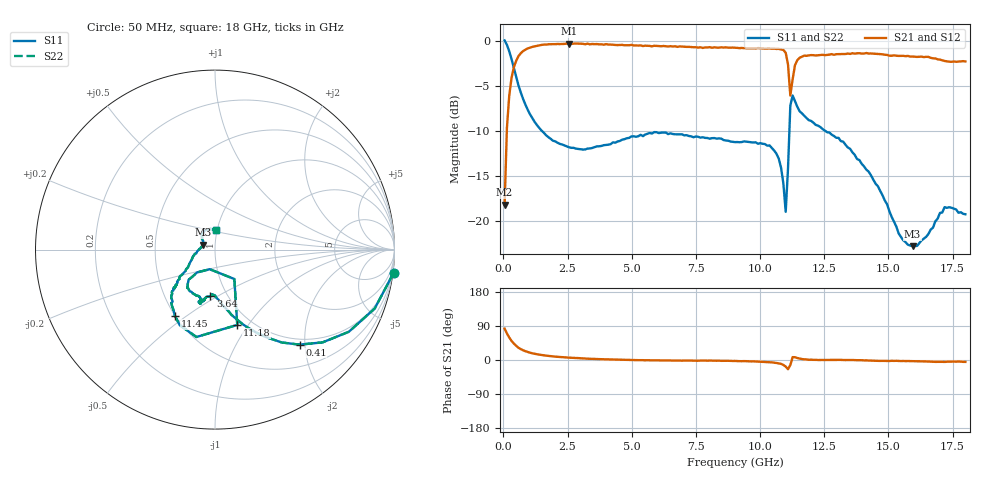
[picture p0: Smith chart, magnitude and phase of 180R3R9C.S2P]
!  American Technical Ceramics  Date:  3/13/98
!  One Norden Lane
!  Huntington Station,  NY.  11746-2102
!  Tel:  (516) 547-5700  Fax:  (516) 547-5748
!  Part Number  180r3r9c
!  Description: Porcelain, High Q, Low ESR
!  Application: Bypass, Coupling, Timing, Feedback
!  Tuning, Impedance Match, Blocking
# GHZ S DB R 50
! Freq  |S11|  S11 Ph  |S21|  S21 Ph  |S12|  S12 Ph  |S22|  S22 Ph
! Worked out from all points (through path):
!   201 points, 50 MHz to 18 GHz, reference 50 ohm
!   highest |S21| = -0.31 dB at 2.56 GHz (marker M1); lowest = -18.1 dB at 50 MHz (marker M2)
!   group delay of S21, straight-line fit = 3.64 ps
!   lowest |S11| = -22.7 dB at 15.94 GHz (marker M3), VSWR 1.16, Z = 43.6 + j2.46 ohm
!   |S11| at or under -10 dB: 1.512 GHz to 11.14 GHz (9.632 GHz wide, 152 % of centre); 12.55 GHz to end of sweep
!   |S22| runs from -22.7 to 0.0 dB; largest |S21 - S12| = 0
!   S11 on the Smith chart (normalised r, x): 50 MHz: -0, -15; 410 MHz: 0.89, -1.89; 3.64 GHz: 0.83, -0.46; 11.18 GHz: 0.86, -0.89; 11.45 GHz: 0.50, -0.45; 18 GHz: 0.99, +0.22
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0.05  0.03 -7.5  -18.14 82.8  -18.14 82.8  0.03 -7.5
0.14  -0.46 -20.3  -9.64 70.2  -9.64 70.2  -0.46 -20.3
0.41  -2.99 -48.4  -2.93 43.3  -2.93 43.3  -2.99 -48.4
0.68  -5.73 -63.5  -1.38 28.8  -1.38 28.8  -5.73 -63.5
1.04  -8.14 -74.1  -0.77 19.3  -0.77 19.3  -8.14 -74.1
2.56  -11.79 -89.6  -0.31 6.2  -0.31 6.2  -11.79 -89.6
3.1  -12.04 -93.6  -0.34 4.3  -0.34 4.3  -12.04 -93.6
3.64  -11.69 -95.8  -0.37 2.5  -0.37 2.5  -11.69 -95.8
6.06  -10.22 -105.1  -0.59 -1.1  -0.59 -1.1  -10.22 -105.1
9.03  -11.22 -109.0  -0.77 -2.5  -0.77 -2.5  -11.22 -109.0
10.64  -12.50 -129.3  -0.91 -7.8  -0.91 -7.8  -12.50 -129.3
11  -18.93 -105.0  -1.33 -17.4  -1.33 -17.4  -18.93 -105.0
11.09  -14.15 -56.7  -2.63 -24.4  -2.63 -24.4  -14.15 -56.7
11.18  -7.18 -73.5  -6.07 -13.5  -6.07 -13.5  -7.18 -73.5
11.27  -6.06 -102.0  -4.28 7.7  -4.28 7.7  -6.06 -102.0
11.45  -7.29 -121.1  -2.16 5.3  -2.16 5.3  -7.29 -121.1
12.08  -9.07 -133.7  -1.60 0.4  -1.60 0.4  -9.07 -133.7
13.51  -11.96 -142.0  -1.46 -0.1  -1.46 -0.1  -11.96 -142.0
15.04  -18.88 -168.3  -1.66 -2.6  -1.66 -2.6  -18.88 -168.3
15.94  -22.73 157.4  -1.75 -3.1  -1.75 -3.1  -22.73 157.4
17.19  -18.41 121.3  -2.24 -5.1  -2.24 -5.1  -18.41 121.3
18  -19.20 85.9  -2.29 -5.0  -2.29 -5.0  -19.20 85.9
